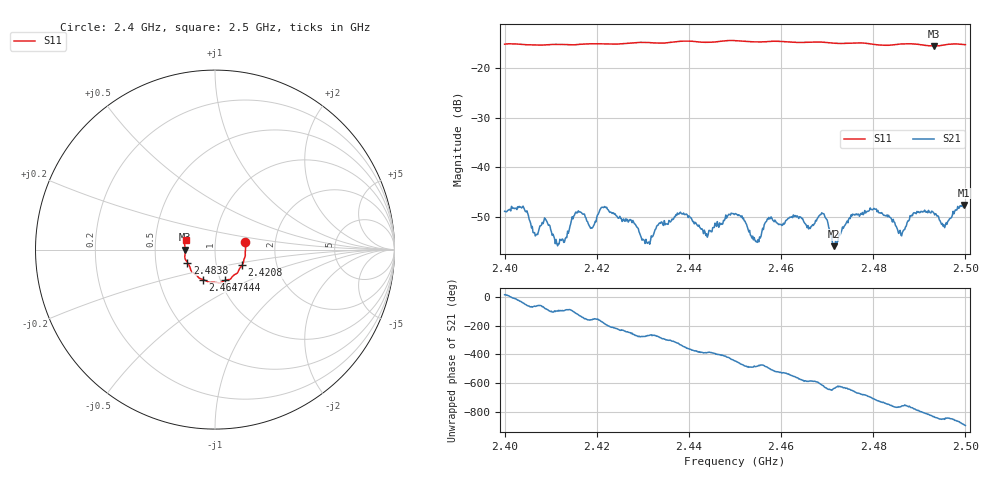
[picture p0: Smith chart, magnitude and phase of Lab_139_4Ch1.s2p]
# Hz S RI R 50
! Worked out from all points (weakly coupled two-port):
!   601 points, 2.4 GHz to 2.5 GHz, reference 50 ohm
!   highest |S21| = -47.56 dB at 2.4997 GHz (marker M1); lowest = -55.8 dB at 2.4715 GHz (marker M2)
!   lowest |S11| = -15.6 dB at 2.4932 GHz (marker M3), VSWR 1.40, Z = 35.8 - j0.0823 ohm
!   |S11| at or under -10 dB: start of sweep to end of sweep
!   S12 and S22 are empty: the file has one direction only
!   S11 on the Smith chart (normalised r, x): 2.4 GHz: 1.40, +0.12; 2.4208 GHz: 1.33, -0.24; 2.444 GHz: 1.06, -0.37; 2.4647 GHz: 0.83, -0.29; 2.4838 GHz: 0.73, -0.11; 2.5 GHz: 0.72, +0.08
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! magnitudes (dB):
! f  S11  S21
! 2.4 GHz  -15.2  -48.8
! 2.4115 GHz  -15.3  -55.8
! 2.4167 GHz  -15.3  -49.1
! 2.4188 GHz  -15.2  -52.1
! 2.4208 GHz  -15.2  -48.3
! 2.431 GHz  -14.9  -55.3
! 2.4333 GHz  -15.0  -51.6
! 2.444 GHz  -14.9  -54.0
! 2.45 GHz  -14.5  -49.3
! 2.4547 GHz  -14.8  -54.9
! 2.4575 GHz  -14.7  -50.4
! 2.4647 GHz  -14.9  -50.3
! 2.4667 GHz  -14.8  -51.8
! 2.4692 GHz  -14.9  -49.3
! 2.4715 GHz  -15.0  -55.8
! 2.4757 GHz  -15.0  -49.5
! 2.4833 GHz  -15.5  -49.6
! 2.4838 GHz  -15.4  -50.2
! 2.486 GHz  -15.2  -53.6
! 2.4932 GHz  -15.6  -49.2
! 2.4997 GHz  -15.3  -47.6
! 2.5 GHz  -15.3  -47.7
